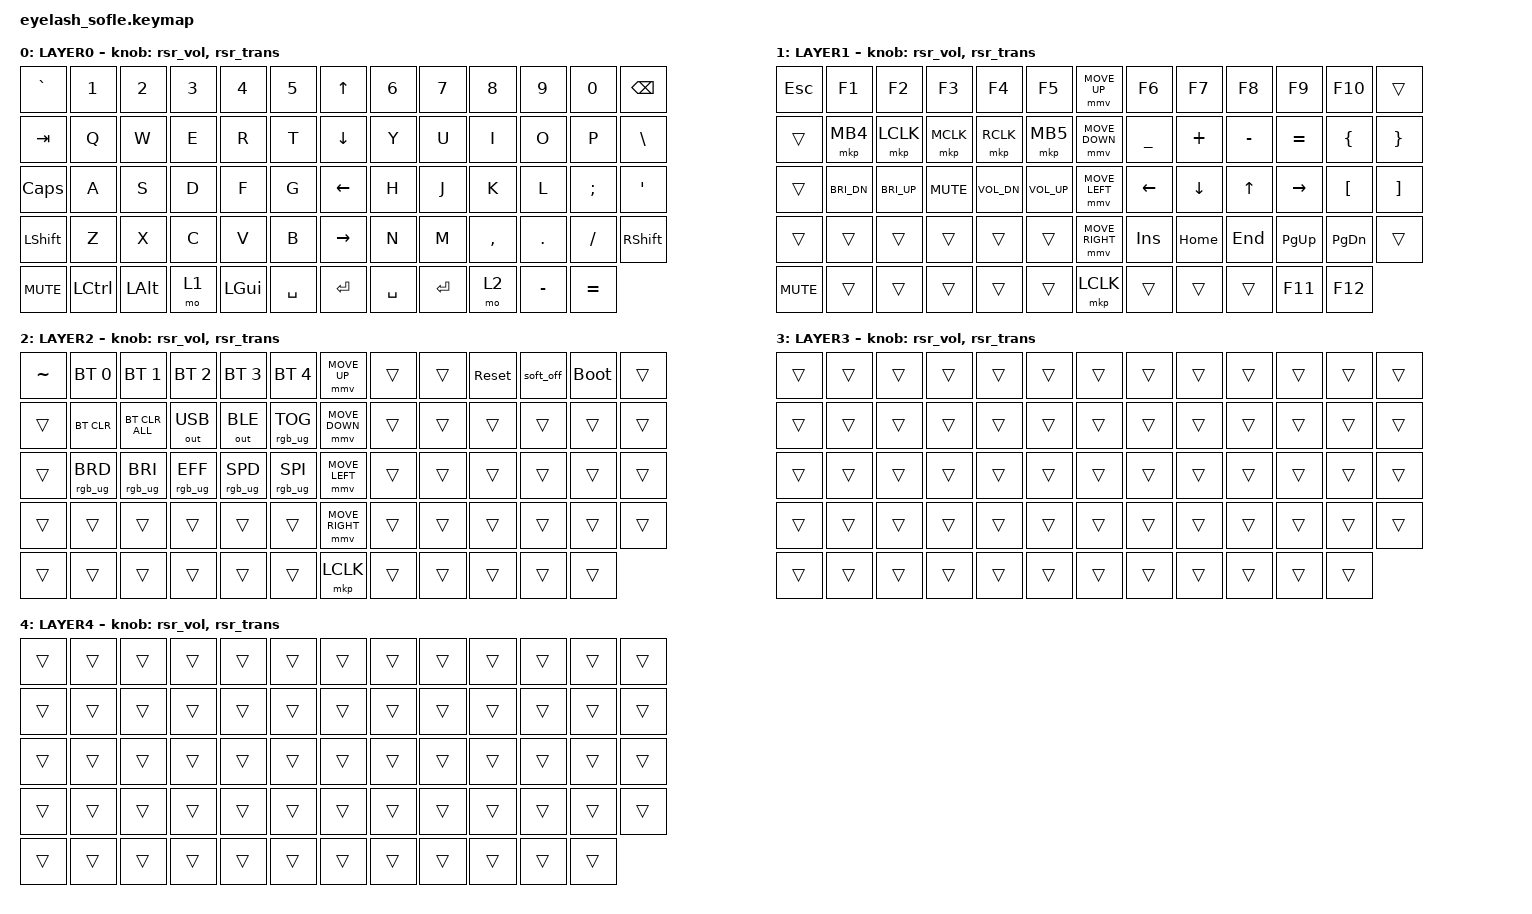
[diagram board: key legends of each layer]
#define ZMK_POINTING_DEFAULT_MOVE_VAL 1200  // 600
#define ZMK_POINTING_DEFAULT_SCRL_VAL 25   // 10

#include <input/processors.dtsi>
#include <zephyr/dt-bindings/input/input-event-codes.h>
#include <behaviors.dtsi>
#include <behaviors/runtime-sensor-rotate.dtsi>
#include <dt-bindings/zmk/bt.h>
#include <dt-bindings/zmk/keys.h>
#include <dt-bindings/zmk/outputs.h>
#include <dt-bindings/zmk/pointing.h>
#include <dt-bindings/zmk/rgb.h>

&mmv_input_listener { input-processors = <&zip_xy_scaler 2 1>; };

&msc_input_listener { input-processors = <&zip_scroll_scaler 2 1>; };

&msc {
    acceleration-exponent = <1>;      // 0
    time-to-max-speed-ms = <100>;       // 300
    delay-ms = <0>;                   // 0
};

&mmv {
    time-to-max-speed-ms = <500>;
    acceleration-exponent = <1>;
    trigger-period-ms = <16>;
};

&soft_off { hold-time-ms = <2000>; };

/ {
    scroll_encoder: scroll_encoder {
        compatible = "zmk,behavior-sensor-rotate";
        #sensor-binding-cells = <0>;
        bindings = <&msc SCRL_DOWN>, <&msc SCRL_UP>;

        tap-ms = <100>;
    };

    behaviors {
        rsr_vol: rsr_vol {
            compatible = "zmk,behavior-runtime-sensor-rotate";
            #sensor-binding-cells = <0>;
            tap-ms = <5>;
            cw-binding = <&kp C_VOL_UP>;
            ccw-binding = <&kp C_VOL_DN>;
        };

        rsr_trans: rsr_trans {
            compatible = "zmk,behavior-runtime-sensor-rotate";
            #sensor-binding-cells = <0>;
            tap-ms = <0>;
        };
    };

    combos {
        compatible = "zmk,combos";

        softoff {
            bindings = <&soft_off>;
            key-positions = <14 28 40>;
        };
    };

    macros {
        SHIFT_MCLK: SHIFT_MCLK {
            compatible = "zmk,behavior-macro";
            #binding-cells = <0>;
            bindings =
                <&macro_press>,
                <&kp LEFT_SHIFT>,
                <&macro_press>,
                <&mkp MB3>,
                <&macro_pause_for_release>,
                <&macro_release>,
                <&kp LEFT_SHIFT &mkp MB3>;

            label = "SHIFT_MCLK";
        };
    };

    keymap {
        compatible = "zmk,keymap";

        layer0 {
            bindings = <
&kp GRAVE   &kp N1     &kp N2        &kp N3        &kp N4   &kp N5       &kp UP_ARROW     &kp N6     &kp N7     &kp N8     &kp N9           &kp N0      &kp BACKSPACE
&kp TAB     &kp Q      &kp W         &kp E         &kp R    &kp T        &kp DOWN_ARROW   &kp Y      &kp U      &kp I      &kp O            &kp P       &kp BSLH
&kp CAPS    &kp A      &kp S         &kp D         &kp F    &kp G        &kp LEFT_ARROW   &kp H      &kp J      &kp K      &kp L            &kp SEMI    &kp APOS
&kp LSHFT   &kp Z      &kp X         &kp C         &kp V    &kp B        &kp RIGHT_ARROW  &kp N      &kp M      &kp COMMA  &kp DOT          &kp FSLH    &kp RIGHT_SHIFT
&kp C_MUTE  &kp LCTRL  &kp LEFT_ALT  &mo 1    &kp LEFT_GUI  &kp SPACE    &kp ENTER        &kp SPACE  &kp ENTER  &mo 2      &kp MINUS        &kp EQUAL
            >;

            sensor-bindings = <&rsr_vol &rsr_trans>;
            display-name = "LAYER0";
        };

        layer_1 {
            bindings = <
&kp ESC     &kp F1           &kp F2          &kp F3           &kp F4           &kp F5           &mmv MOVE_UP     &kp F6           &kp F7           &kp F8      &kp F9     &kp F10         &trans
&trans      &mkp MB4         &mkp LCLK       &mkp MCLK        &mkp RCLK        &mkp MB5         &mmv MOVE_DOWN   &kp UNDER        &kp PLUS         &kp MINUS   &kp EQUAL  &kp LBRC        &kp RBRC
&trans      &kp C_BRI_DN     &kp C_BRI_UP    &kp C_MUTE       &kp C_VOL_DN     &kp C_VOL_UP     &mmv MOVE_LEFT   &kp LEFT         &kp DOWN         &kp UP      &kp RIGHT  &kp LBKT        &kp RBKT
&trans      &trans           &trans          &trans           &trans           &trans           &mmv MOVE_RIGHT  &kp INSERT       &kp HOME         &kp END     &kp PG_UP  &kp PG_DN       &trans
&kp C_MUTE  &trans           &trans          &trans           &trans           &trans           &mkp LCLK        &trans           &trans           &trans      &kp F11    &kp F12
            >;

            sensor-bindings = <&rsr_vol &rsr_trans>;
            display-name = "LAYER1";
        };

        layer_2 {
            bindings = <
&kp TILDE  &bt BT_SEL 0     &bt BT_SEL 1     &bt BT_SEL 2     &bt BT_SEL 3     &bt BT_SEL 4     &mmv MOVE_UP     &trans        &trans        &sys_reset  &soft_off  &bootloader   &trans
&trans     &bt BT_CLR       &bt BT_CLR_ALL   &out OUT_USB     &out OUT_BLE     &rgb_ug RGB_TOG  &mmv MOVE_DOWN   &trans        &trans        &trans      &trans     &trans        &trans
&trans     &rgb_ug RGB_BRD  &rgb_ug RGB_BRI  &rgb_ug RGB_EFF  &rgb_ug RGB_SPD  &rgb_ug RGB_SPI  &mmv MOVE_LEFT   &trans        &trans        &trans      &trans     &trans        &trans
&trans     &trans           &trans           &trans           &trans           &trans           &mmv MOVE_RIGHT  &trans        &trans        &trans      &trans     &trans        &trans
&trans     &trans           &trans           &trans           &trans           &trans           &mkp LCLK        &trans        &trans        &trans      &trans     &trans
            >;

            display-name = "LAYER2";
            sensor-bindings = <&rsr_vol &rsr_trans>;
        };

        layer_3 {
            bindings = <
&trans  &trans  &trans  &trans  &trans  &trans    &trans  &trans  &trans  &trans  &trans  &trans  &trans
&trans  &trans  &trans  &trans  &trans  &trans    &trans  &trans  &trans  &trans  &trans  &trans  &trans
&trans  &trans  &trans  &trans  &trans  &trans    &trans  &trans  &trans  &trans  &trans  &trans  &trans
&trans  &trans  &trans  &trans  &trans  &trans    &trans  &trans  &trans  &trans  &trans  &trans  &trans
&trans  &trans  &trans  &trans  &trans  &trans    &trans  &trans  &trans  &trans  &trans  &trans
            >;

            display-name = "LAYER3";
            sensor-bindings = <&rsr_vol &rsr_trans>;
        };

        layer_4 {
            bindings = <
&trans  &trans  &trans  &trans  &trans  &trans    &trans  &trans  &trans  &trans  &trans  &trans  &trans
&trans  &trans  &trans  &trans  &trans  &trans    &trans  &trans  &trans  &trans  &trans  &trans  &trans
&trans  &trans  &trans  &trans  &trans  &trans    &trans  &trans  &trans  &trans  &trans  &trans  &trans
&trans  &trans  &trans  &trans  &trans  &trans    &trans  &trans  &trans  &trans  &trans  &trans  &trans
&trans  &trans  &trans  &trans  &trans  &trans    &trans  &trans  &trans  &trans  &trans  &trans
            >;

            display-name = "LAYER4";
            sensor-bindings = <&rsr_vol &rsr_trans>;
        };
    };
};
